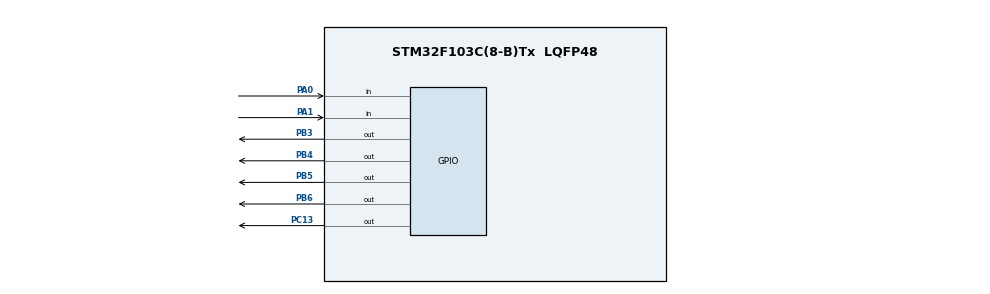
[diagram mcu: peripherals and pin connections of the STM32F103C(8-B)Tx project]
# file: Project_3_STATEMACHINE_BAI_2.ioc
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Mcu.Family=STM32F1
Mcu.Name=STM32F103C(8-B)Tx
Mcu.Package=LQFP48
NVIC.PriorityGroup=NVIC_PRIORITYGROUP_4
PA0-WKUP.GPIO_PuPd=GPIO_PULLUP
PA0-WKUP.Signal=GPIO_Input
PA1.GPIO_PuPd=GPIO_PULLUP
PA1.Signal=GPIO_Input
PA13.Mode=Serial_Wire
PA13.Signal=SYS_JTMS-SWDIO
PA14.Mode=Serial_Wire
PA14.Signal=SYS_JTCK-SWCLK
PB3.Signal=GPIO_Output
PB4.Signal=GPIO_Output
PB5.Signal=GPIO_Output
PB6.Signal=GPIO_Output
PC13-TAMPER-RTC.Signal=GPIO_Output
ProjectManager.HeapSize=0x200
ProjectManager.StackSize=0x400
ProjectManager.TargetToolchain=STM32CubeIDE
RCC.APB1Freq_Value=8000000
RCC.APB2Freq_Value=8000000
board=custom

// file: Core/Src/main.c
/* USER CODE BEGIN Header */
/**
  ******************************************************************************
  * @file           : main.c
  * @brief          : Main program body
  ******************************************************************************
  * @attention
  *
  * Copyright (c) 2022 STMicroelectronics.
  * All rights reserved.
  *
  * This software is licensed under terms that can be found in the LICENSE file
  * in the root directory of this software component.
  * If no LICENSE file comes with this software, it is provided AS-IS.
  *
  ******************************************************************************
  */
/* USER CODE END Header */
#include "main.h"

/* USER CODE BEGIN PV */
enum{
	effect_0,
	effect_1,
	effect_2,
};
//button var
uint8_t current_state = 1;
uint8_t last_state = 1;
uint8_t deboucing_state = 1;
uint8_t is_deboucing = 0;
uint32_t deboucing_timer = 0;
uint8_t is_pressing = 0;
uint32_t pressing_timer = 0;

//led var
uint8_t effect = effect_0;
uint8_t off = 0;
uint32_t led_timer = 0;
uint32_t temp_timer = 0;
#define LED_1 0x00000078
#define LED_2 0x00000018
#define LED_3 0x00000060
/* USER CODE END PV */

void SystemClock_Config(void);
static void MX_GPIO_Init(void);

/* USER CODE BEGIN 0 */
void BUTTON_Handel(uint16_t gpio_pin)
{
	// detecting
	uint8_t temp_state = HAL_GPIO_ReadPin(GPIOA, gpio_pin);
	if(temp_state != deboucing_state)
	{
		deboucing_state = temp_state;
		deboucing_timer = HAL_GetTick();
		is_deboucing = 1;
	}

	// deboucing
	if(is_deboucing==1 && (HAL_GetTick() - deboucing_timer > 15))
	{
		current_state = deboucing_state;
		is_deboucing = 0;
	}

	if(last_state != current_state)
	{
		if(current_state==0)
		{
			is_pressing = 1;
			pressing_timer = HAL_GetTick();
		}
		else
		{
			is_pressing = 0;
			if(HAL_GetTick() - pressing_timer < 2000)
			{
				effect++;
				if(effect > effect_2)
				{
					effect = effect_0;
				}
			}
		}
		last_state = current_state;
	}
	if(is_pressing == 1 && (HAL_GetTick() - pressing_timer > 2000))
	{
		off = !off;
		is_pressing = 0;
	}
}
void LED_Handel()
{
	if(off == 0)
	{
		switch(effect)
		{
		case effect_0:
			if(HAL_GetTick() - led_timer > 400)
			{
				if((GPIOB->ODR & LED_1) == 0)
				{
					GPIOB->ODR = GPIOB->ODR | LED_1;
				}
				else
				{
					GPIOB->ODR = GPIOB->ODR & ~LED_1;
				}
				led_timer = HAL_GetTick();
			}
			break;
		case effect_1:
			if(HAL_GetTick() - led_timer > 400)
			{
				if((GPIOB->ODR & LED_2) == 0)
				{
					GPIOB->ODR = GPIOB->ODR | LED_2;
					GPIOB->ODR = GPIOB->ODR & ~LED_3;
				}
				else
				{
					GPIOB->ODR = GPIOB->ODR & ~LED_2;
					GPIOB->ODR = GPIOB->ODR | LED_3;
				}
				led_timer = HAL_GetTick();
			}
			break;
		case effect_2:

			if(HAL_GetTick() - temp_timer >= 1000)
			{
				led_timer = HAL_GetTick();
				temp_timer = HAL_GetTick();
			}

			if(HAL_GetTick() - led_timer < 200)
			{
				HAL_GPIO_WritePin(GPIOB, GPIO_PIN_3, 1);
				HAL_GPIO_WritePin(GPIOB, GPIO_PIN_4, 0);
				HAL_GPIO_WritePin(GPIOB, GPIO_PIN_5, 0);
				HAL_GPIO_WritePin(GPIOB, GPIO_PIN_6, 0);
			}
			else if( HAL_GetTick() - led_timer < 400)
			{
				HAL_GPIO_WritePin(GPIOB, GPIO_PIN_3, 1);
				HAL_GPIO_WritePin(GPIOB, GPIO_PIN_4, 1);
				HAL_GPIO_WritePin(GPIOB, GPIO_PIN_5, 0);
				HAL_GPIO_WritePin(GPIOB, GPIO_PIN_6, 0);
			}
			else if( HAL_GetTick() - led_timer < 600)
			{
				HAL_GPIO_WritePin(GPIOB, GPIO_PIN_3, 1);
				HAL_GPIO_WritePin(GPIOB, GPIO_PIN_4, 1);
				HAL_GPIO_WritePin(GPIOB, GPIO_PIN_5, 1);
				HAL_GPIO_WritePin(GPIOB, GPIO_PIN_6, 0);
			}
			else if(HAL_GetTick() - led_timer > 600)
			{
				HAL_GPIO_WritePin(GPIOB, GPIO_PIN_3, 1);
				HAL_GPIO_WritePin(GPIOB, GPIO_PIN_4, 1);
				HAL_GPIO_WritePin(GPIOB, GPIO_PIN_5, 1);
				HAL_GPIO_WritePin(GPIOB, GPIO_PIN_6, 1);
			}
			break;
		}
	}
	else
	{
		GPIOB->ODR = GPIOB->ODR & ~LED_1;
	}
}
/* USER CODE END 0 */

int main(void)
{

  /* MCU Configuration--------------------------------------------------------*/

  /* Reset of all peripherals, Initializes the Flash interface and the Systick. */
  HAL_Init();

  /* Configure the system clock */
  SystemClock_Config();

  /* Initialize all configured peripherals */
  MX_GPIO_Init();

  /* Infinite loop */
  while (1)
  {

    /* USER CODE BEGIN 3 */
	  BUTTON_Handel(GPIO_PIN_0);
	  LED_Handel();
  }
  /* USER CODE END 3 */
}

void SystemClock_Config(void)
{
  RCC_OscInitTypeDef RCC_OscInitStruct = {0};
  RCC_ClkInitTypeDef RCC_ClkInitStruct = {0};

  /** Initializes the RCC Oscillators according to the specified parameters
  * in the RCC_OscInitTypeDef structure.
  */
  RCC_OscInitStruct.OscillatorType = RCC_OSCILLATORTYPE_HSI;
  RCC_OscInitStruct.HSIState = RCC_HSI_ON;
  RCC_OscInitStruct.HSICalibrationValue = RCC_HSICALIBRATION_DEFAULT;
  RCC_OscInitStruct.PLL.PLLState = RCC_PLL_NONE;
  if (HAL_RCC_OscConfig(&RCC_OscInitStruct) != HAL_OK)
  {
    Error_Handler();
  }

  /** Initializes the CPU, AHB and APB buses clocks
  */
  RCC_ClkInitStruct.ClockType = RCC_CLOCKTYPE_HCLK|RCC_CLOCKTYPE_SYSCLK
                              |RCC_CLOCKTYPE_PCLK1|RCC_CLOCKTYPE_PCLK2;
  RCC_ClkInitStruct.SYSCLKSource = RCC_SYSCLKSOURCE_HSI;
  RCC_ClkInitStruct.AHBCLKDivider = RCC_SYSCLK_DIV1;
  RCC_ClkInitStruct.APB1CLKDivider = RCC_HCLK_DIV1;
  RCC_ClkInitStruct.APB2CLKDivider = RCC_HCLK_DIV1;

  if (HAL_RCC_ClockConfig(&RCC_ClkInitStruct, FLASH_LATENCY_0) != HAL_OK)
  {
    Error_Handler();
  }
}

static void MX_GPIO_Init(void)
{
  GPIO_InitTypeDef GPIO_InitStruct = {0};

  /* GPIO Ports Clock Enable */
  __HAL_RCC_GPIOC_CLK_ENABLE();
  __HAL_RCC_GPIOA_CLK_ENABLE();
  __HAL_RCC_GPIOB_CLK_ENABLE();

  /*Configure GPIO pin Output Level */
  HAL_GPIO_WritePin(GPIOC, GPIO_PIN_13, GPIO_PIN_RESET);

  /*Configure GPIO pin Output Level */
  HAL_GPIO_WritePin(GPIOB, GPIO_PIN_3|GPIO_PIN_4|GPIO_PIN_5|GPIO_PIN_6, GPIO_PIN_RESET);

  /*Configure GPIO pin : PC13 */
  GPIO_InitStruct.Pin = GPIO_PIN_13;
  GPIO_InitStruct.Mode = GPIO_MODE_OUTPUT_PP;
  GPIO_InitStruct.Pull = GPIO_NOPULL;
  GPIO_InitStruct.Speed = GPIO_SPEED_FREQ_LOW;
  HAL_GPIO_Init(GPIOC, &GPIO_InitStruct);

  /*Configure GPIO pins : PA0 PA1 */
  GPIO_InitStruct.Pin = GPIO_PIN_0|GPIO_PIN_1;
  GPIO_InitStruct.Mode = GPIO_MODE_INPUT;
  GPIO_InitStruct.Pull = GPIO_PULLUP;
  HAL_GPIO_Init(GPIOA, &GPIO_InitStruct);

  /*Configure GPIO pins : PB3 PB4 PB5 PB6 */
  GPIO_InitStruct.Pin = GPIO_PIN_3|GPIO_PIN_4|GPIO_PIN_5|GPIO_PIN_6;
  GPIO_InitStruct.Mode = GPIO_MODE_OUTPUT_PP;
  GPIO_InitStruct.Pull = GPIO_NOPULL;
  GPIO_InitStruct.Speed = GPIO_SPEED_FREQ_LOW;
  HAL_GPIO_Init(GPIOB, &GPIO_InitStruct);

}

void Error_Handler(void)
{
  __disable_irq();
  while (1)
  {
  }
}
